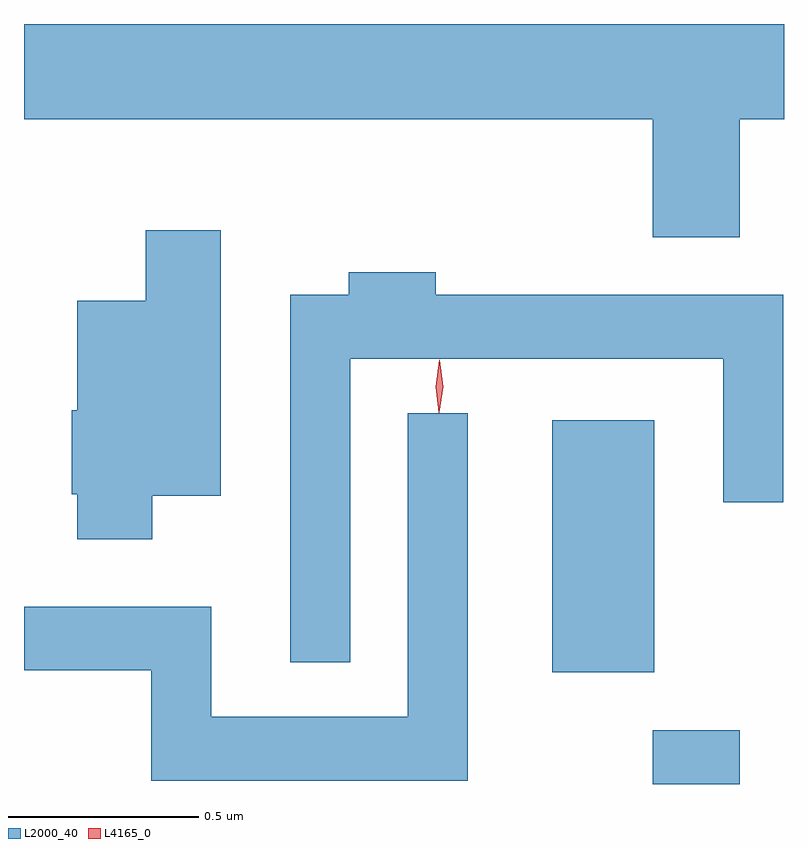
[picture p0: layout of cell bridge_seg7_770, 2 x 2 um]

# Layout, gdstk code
import gdstk
lib = gdstk.Library(unit=1e-6, precision=1e-09)
def R(c, l, rs):  # rectangles x0, y0, x1, y1
    for r in rs: c.add(gdstk.rectangle(r[:2], r[2:], *l))
def P(c, l, *ps):  # polygons
    for p in ps: c.add(gdstk.Polygon(p, *l))
L2000_40 = (2000, 40)
L4165_0 = (4165, 0)

bridge_seg7_770 = lib.new_cell('bridge_seg7_770')
R(bridge_seg7_770, L2000_40, [(619.561,1736.987,619.789,1737.129), (619.296,1737.281,619.564,1737.944)])
P(bridge_seg7_770, L2000_40, [(617.906,1738.736),(619.561,1738.736),(619.561,1738.426),(619.789,1738.426),(619.789,1738.736),(619.906,1738.736),(619.906,1738.987),(617.906,1738.987)],
  [(618.244,1737.746),(618.424,1737.746),(618.424,1738.444),(618.226,1738.444),(618.226,1738.259),(618.046,1738.259),(618.046,1737.97),(618.031,1737.97),(618.031,1737.75),(618.046,1737.75),(618.046,1737.631),(618.244,1737.631)],
  [(618.764,1738.106),(619.746,1738.106),(619.746,1737.728),(619.904,1737.728),(619.904,1738.274),(618.989,1738.274),(618.989,1738.334),(618.761,1738.334),(618.761,1738.274),(618.606,1738.274),(618.606,1737.308),(618.764,1737.308)],
  [(619.074,1737.963),(618.916,1737.963),(618.916,1737.164),(618.399,1737.164),(618.399,1737.454),(617.906,1737.454),(617.906,1737.286),(618.241,1737.286),(618.241,1736.996),(619.074,1736.996)])
P(bridge_seg7_770, L4165_0, [(618.999,1737.963),(618.998,1737.964),(618.99,1738.033),(618.999,1738.102),(619,1738.103),(619,1738.102),(619.009,1738.033),(618.999,1737.964)])

lib.write_gds('bridge_seg7_770.gds')
